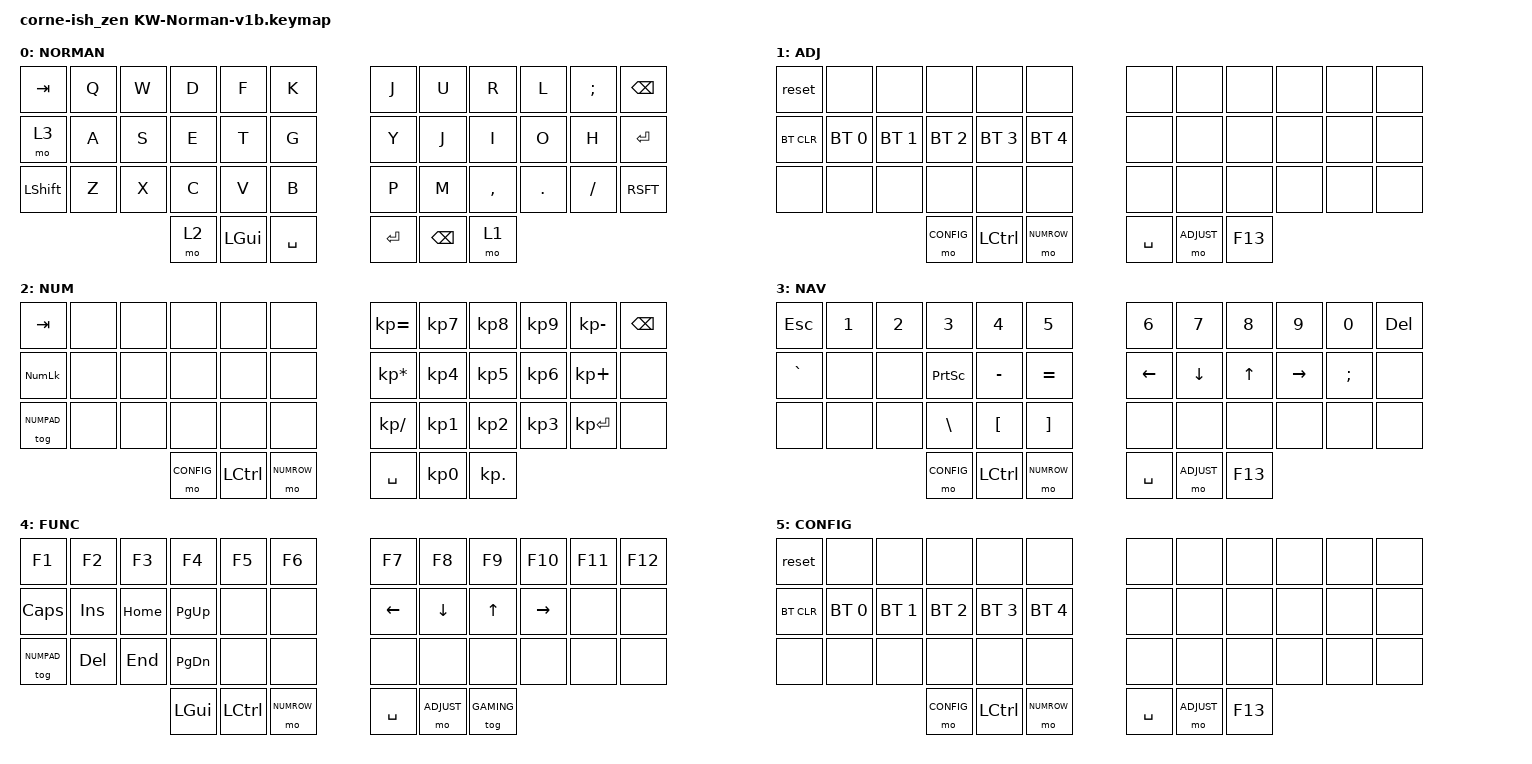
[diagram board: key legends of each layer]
/*
*
* Copyright (c) 2021 lowprokb.ca
* SPDX-License-Identifier: MIT
*
*/

#include <behaviors.dtsi>
#include <dt-bindings/zmk/keys.h>
#include <dt-bindings/zmk/bt.h>

#define NORMAN 0
#define ADJ 1
#define NUM 2
#define NAV 3
#define FUNC 4
#define CONFIG 5

&mt {
     tapping-term-ms = <400>;
 };

/ {
        keymap {
                compatible = "zmk,keymap";

                default_layer {
                        label = "NORMAN";
// -----------------------------------------------------------------------------------------
// |  TAB |  Q  |  W  |  D  |  F  |  K  |   |  J  |  U   |  R  |  L  |  ;  | BKSP |
// |MO(3) |  A  |  S  |  E  |  T  |  G  |   |  Y  |  N   |  I  |  O  |  H  | ENTER|
// | SHFT |  Z  |  X  |  C  |  V  |  B  |   |  P  |  M   |  ,  |  .  |  /  | SHFT |
//                    |MO(2)| GUI | SPC |   | ENT | BS   |MO(1)|
                        bindings = <
  &kp TAB   &kp Q &kp W &kp D &kp F &kp K    &kp J &kp U &kp R    &kp L   &kp SEMI    &kp BSPC
   &mo 3 &kp A &kp S &kp E &kp T &kp G    	  &kp Y &kp J &kp I    &kp O   &kp H    &kp ENTER
   &kp LSHFT &kp Z &kp X &kp C &kp V &kp B    &kp P &kp M &kp CMMA &kp DOT &kp FSLH &kp RSFT
              &mo 2 &kp LGUI &kp SPACE    &kp ENTER &kp BSPC &mo 1
                        >;
                };

                adjust_layer {
                        label = "ADJ";
// -----------------------------------------------------------------------------------------
// |Reset |     |     |     |     |     |   |     |     |     |     |     |      |
// |BT-res| BT-1|BT-2 | BT-3|BT-4 | BT-5|   |Vol +|     |     |     |     |      |
// |      |     |     |     |     |     |   |Vol -|MUTE | RWD |FFD  |     |      |
//                    |     |     |     |   |PLAY |MUTE |     |
                        bindings = <
   &reset     &none        &none        &none        &none        &none           &none &none &none &none &none &none 
   &bt BT_CLR &bt BT_SEL 0 &bt BT_SEL 1 &bt BT_SEL 2 &bt BT_SEL 3 &bt BT_SEL 4    &none &none &none &none &none &none
   &none      &none        &none        &none        &none        &none           &none &none &none &none &none &none
                                                &mo CONFIG &kp LCTL &mo NUMROW    &kp SPC &mo ADJUST &kp F13
                        >;
                };


                numpad_layer {
                        label = "NUM";
// -----------------------------------------------------------------------------------------
// |BT-res| BT-1|BT-2 | BT-3|BT-4 | BT-5|   |     |      |     |     |     |      |
// |      |     |     |     |     |     |   |     |      |     |     |     |      |
// |      |     |     |     |     |     |   |     |      |     |     |     |      |
//                    |     |     |     |   |     |      |     |  
                        bindings = < 
   &kp TAB     &none &none &none &none &none    &kp KP_EQUAL    &kp KP_N7 &kp KP_N8 &kp KP_N9 &kp KP_MINUS &kp BSPC
   &kp KP_NLCK &none &none &none &none &none    &kp KP_ASTERISK &kp KP_N4 &kp KP_N5 &kp KP_N6 &kp KP_PLUS  &none
   &tog NUMPAD &none &none &none &none &none    &kp KP_SLASH    &kp KP_N1 &kp KP_N2 &kp KP_N3 &kp KP_ENTER &none
              &mo CONFIG &kp LCTL &mo NUMROW    &kp SPC &kp KP_N0 &kp KP_DOT
                        >;
                };

                nav_layer {
                        label = "NAV";
// -----------------------------------------------------------------------------------------
// |BT-res| BT-1|BT-2 | BT-3|BT-4 | BT-5|   |     |      |     |     |     |      |
// |      |     |     |     |     |     |   |     |      |     |     |     |      |
// |      |     |     |     |     |     |   |     |      |     |     |     |      |
//                    |     |     |     |   |     |      |     |
                        bindings = <
   &kp ESC   &kp N1 &kp N2 &kp N3    &kp N4    &kp N5       &kp N6   &kp N7   &kp N8 &kp N9    &kp N0   &kp DEL
   &kp GRAVE &none  &none  &kp PSCRN &kp MINUS &kp EQUAL    &kp LEFT &kp DOWN &kp UP &kp RIGHT &kp SEMI &none
   &none     &none  &none  &kp BSLH  &kp LBKT  &kp RBKT     &none    &none    &none  &none     &none    &none 
                          &mo CONFIG &kp LCTL &mo NUMROW    &kp SPC &mo ADJUST &kp F13
                        >;
                };

                function_layer {
                        label = "FUNC";
// -----------------------------------------------------------------------------------------
// |BT-res| BT-1|BT-2 | BT-3|BT-4 | BT-5|   |     |      |     |     |     |      |
// |      |     |     |     |     |     |   |     |      |     |     |     |      |
// |      |     |     |     |     |     |   |     |      |     |     |     |      |
//                    |     |     |     |   |     |      |     |               
                        bindings = <
   &kp F1      &kp F2  &kp F3   &kp F4    &kp F5 &kp F6    &kp F7   &kp F8   &kp F9 &kp F10   &kp F11 &kp F12
   &kp CAPS    &kp INS &kp HOME &kp PG_UP &none  &none     &kp LEFT &kp DOWN &kp UP &kp RIGHT &none   &none
   &tog NUMPAD &kp DEL &kp END  &kp PG_DN &none  &none     &none    &none    &none  &none     &none   &none
                           &kp LGUI &kp LCTL &mo NUMROW    &kp SPC &mo ADJUST &tog GAMING
                        >;
                };

                config_layer {
                        label = "CONFIG";
 // -----------------------------------------------------------------------------------------
// |BT-res| BT-1|BT-2 | BT-3|BT-4 | BT-5|   |     |      |     |     |     |      |
// |      |     |     |     |     |     |   |     |      |     |     |     |      |
// |      |     |     |     |     |     |   |     |      |     |     |     |      |
//                    |     |     |     |   |     |      |     |
                        bindings = <
   &reset     &none        &none        &none        &none        &none           &none &none &none &none &none &none 
   &bt BT_CLR &bt BT_SEL 0 &bt BT_SEL 1 &bt BT_SEL 2 &bt BT_SEL 3 &bt BT_SEL 4    &none &none &none &none &none &none
   &none      &none        &none        &none        &none        &none           &none &none &none &none &none &none
                                                &mo CONFIG &kp LCTL &mo NUMROW    &kp SPC &mo ADJUST &kp F13
                        >;
                };
        };
};
